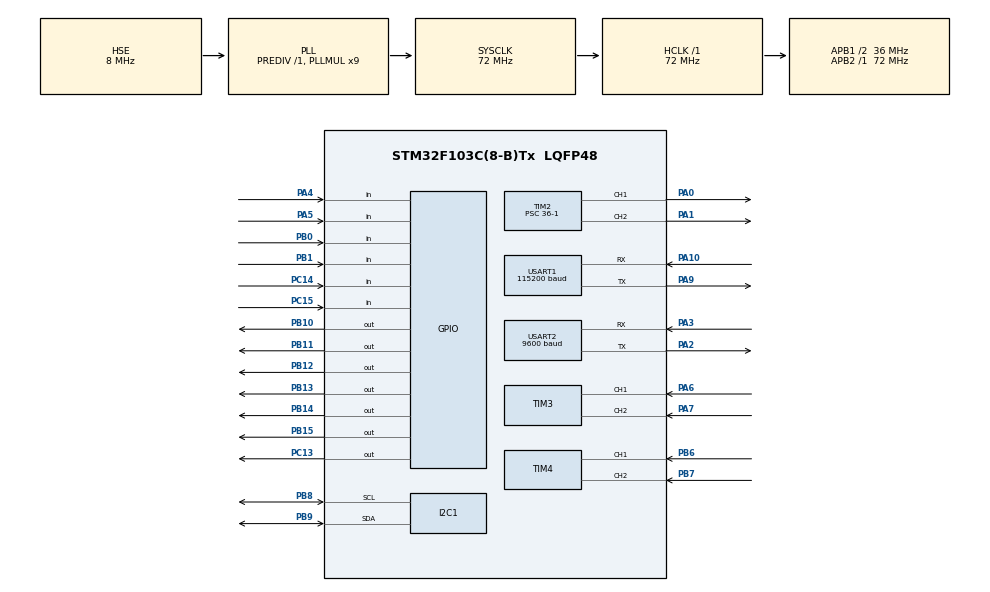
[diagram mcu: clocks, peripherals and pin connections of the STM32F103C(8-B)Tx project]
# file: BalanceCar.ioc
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Dma.I2C1_TX.2.Direction=DMA_MEMORY_TO_PERIPH
Dma.I2C1_TX.2.Instance=DMA1_Channel6
Dma.I2C1_TX.2.MemDataAlignment=DMA_MDATAALIGN_BYTE
Dma.I2C1_TX.2.MemInc=DMA_MINC_ENABLE
Dma.I2C1_TX.2.Mode=DMA_NORMAL
Dma.I2C1_TX.2.PeriphDataAlignment=DMA_PDATAALIGN_BYTE
Dma.I2C1_TX.2.PeriphInc=DMA_PINC_DISABLE
Dma.I2C1_TX.2.Priority=DMA_PRIORITY_HIGH
Dma.Request0=USART1_RX
Dma.Request1=USART1_TX
Dma.Request2=I2C1_TX
Dma.Request3=USART2_TX
Dma.USART1_RX.0.Direction=DMA_PERIPH_TO_MEMORY
Dma.USART1_RX.0.Instance=DMA1_Channel5
Dma.USART1_RX.0.MemDataAlignment=DMA_MDATAALIGN_BYTE
Dma.USART1_RX.0.MemInc=DMA_MINC_ENABLE
Dma.USART1_RX.0.Mode=DMA_CIRCULAR
Dma.USART1_RX.0.PeriphDataAlignment=DMA_PDATAALIGN_BYTE
Dma.USART1_RX.0.PeriphInc=DMA_PINC_DISABLE
Dma.USART1_RX.0.Priority=DMA_PRIORITY_HIGH
Dma.USART1_TX.1.Direction=DMA_MEMORY_TO_PERIPH
Dma.USART1_TX.1.Instance=DMA1_Channel4
Dma.USART1_TX.1.MemDataAlignment=DMA_MDATAALIGN_BYTE
Dma.USART1_TX.1.MemInc=DMA_MINC_ENABLE
Dma.USART1_TX.1.Mode=DMA_NORMAL
Dma.USART1_TX.1.PeriphDataAlignment=DMA_PDATAALIGN_BYTE
Dma.USART1_TX.1.PeriphInc=DMA_PINC_DISABLE
Dma.USART1_TX.1.Priority=DMA_PRIORITY_MEDIUM
Dma.USART2_TX.3.Direction=DMA_MEMORY_TO_PERIPH
Dma.USART2_TX.3.Instance=DMA1_Channel7
Dma.USART2_TX.3.MemDataAlignment=DMA_MDATAALIGN_BYTE
Dma.USART2_TX.3.MemInc=DMA_MINC_ENABLE
Dma.USART2_TX.3.Mode=DMA_NORMAL
Dma.USART2_TX.3.PeriphDataAlignment=DMA_PDATAALIGN_BYTE
Dma.USART2_TX.3.PeriphInc=DMA_PINC_DISABLE
Dma.USART2_TX.3.Priority=DMA_PRIORITY_MEDIUM
FREERTOS.INCLUDE_xTaskGetHandle=1
FREERTOS.Queues01=ButtonQueue,1,uint8_t,0,Dynamic,NULL,NULL;TimerQueue,1,uint16_t,0,Dynamic,NULL,NULL;PrintQueue,1,uint8_t *,0,Dynamic,NULL,NULL
FREERTOS.Tasks01=Balance,48,256,vBalance,Default,NULL,Dynamic,NULL,NULL;Speed,40,256,vSpeed,Default,NULL,Dynamic,NULL,NULL;Comms,24,256,vComms,Default,NULL,Dynamic,NULL,NULL;UI,8,256,vUI,Default,NULL,Dynamic,NULL,NULL
FREERTOS.configTOTAL_HEAP_SIZE=7168
I2C1.I2C_Mode=I2C_Fast
Mcu.Family=STM32F1
Mcu.Name=STM32F103C(8-B)Tx
Mcu.Package=LQFP48
NVIC.DMA1_Channel4_IRQn=true\:5\:0\:false\:false\:true\:true\:false\:true\:true
NVIC.DMA1_Channel5_IRQn=true\:5\:0\:false\:false\:true\:true\:false\:true\:true
NVIC.DMA1_Channel6_IRQn=true\:6\:0\:true\:false\:true\:true\:false\:true\:true
NVIC.DMA1_Channel7_IRQn=true\:5\:0\:false\:false\:true\:true\:false\:true\:true
NVIC.I2C1_ER_IRQn=true\:5\:0\:false\:false\:true\:true\:true\:true\:true
NVIC.I2C1_EV_IRQn=true\:6\:0\:true\:false\:true\:true\:true\:true\:true
NVIC.PriorityGroup=NVIC_PRIORITYGROUP_4
NVIC.TIM1_UP_IRQn=true\:5\:0\:true\:false\:true\:false\:true\:true\:true
NVIC.TIM2_IRQn=true\:5\:0\:false\:false\:true\:true\:true\:true\:true
NVIC.TimeBase=TIM1_UP_IRQn
NVIC.TimeBaseIP=TIM1
NVIC.USART1_IRQn=true\:6\:0\:true\:false\:true\:true\:true\:true\:true
NVIC.USART2_IRQn=true\:6\:0\:true\:false\:true\:true\:true\:true\:true
PA0-WKUP.Signal=S_TIM2_CH1_ETR
PA1.Signal=S_TIM2_CH2
PA10.Mode=Asynchronous
PA10.Signal=USART1_RX
PA13.Mode=Serial_Wire
PA13.Signal=SYS_JTMS-SWDIO
PA14.Mode=Serial_Wire
PA14.Signal=SYS_JTCK-SWCLK
PA2.Mode=Asynchronous
PA2.Signal=USART2_TX
PA3.Mode=Asynchronous
PA3.Signal=USART2_RX
PA4.GPIO_PuPd=GPIO_PULLUP
PA4.Signal=GPIO_Input
PA5.GPIO_PuPd=GPIO_PULLUP
PA5.Signal=GPIO_Input
PA6.Signal=S_TIM3_CH1
PA7.Signal=S_TIM3_CH2
PA9.Mode=Asynchronous
PA9.Signal=USART1_TX
PB0.GPIO_PuPd=GPIO_PULLUP
PB0.Signal=GPIO_Input
PB1.GPIO_PuPd=GPIO_PULLUP
PB1.Signal=GPIO_Input
PB10.GPIO_ModeDefaultOutputPP=GPIO_MODE_OUTPUT_OD
PB10.GPIO_PuPd=GPIO_NOPULL
PB10.GPIO_Speed=GPIO_SPEED_FREQ_HIGH
PB10.PinState=GPIO_PIN_SET
PB10.Signal=GPIO_Output
PB11.GPIO_ModeDefaultOutputPP=GPIO_MODE_OUTPUT_OD
PB11.GPIO_PuPd=GPIO_NOPULL
PB11.GPIO_Speed=GPIO_SPEED_FREQ_HIGH
PB11.PinState=GPIO_PIN_SET
PB11.Signal=GPIO_Output
PB12.GPIO_Speed=GPIO_SPEED_FREQ_HIGH
PB12.Signal=GPIO_Output
PB13.GPIO_Speed=GPIO_SPEED_FREQ_HIGH
PB13.Signal=GPIO_Output
PB14.GPIO_Speed=GPIO_SPEED_FREQ_HIGH
PB14.Signal=GPIO_Output
PB15.GPIO_Speed=GPIO_SPEED_FREQ_HIGH
PB15.Signal=GPIO_Output
PB6.Signal=S_TIM4_CH1
PB7.Signal=S_TIM4_CH2
PB8.Mode=I2C
PB8.Signal=I2C1_SCL
PB9.Mode=I2C
PB9.Signal=I2C1_SDA
PC13-TAMPER-RTC.PinState=GPIO_PIN_SET
PC13-TAMPER-RTC.Signal=GPIO_Output
PC14-OSC32_IN.GPIO_PuPd=GPIO_PULLUP
PC14-OSC32_IN.Signal=GPIO_Input
PC15-OSC32_OUT.GPIO_PuPd=GPIO_PULLUP
PC15-OSC32_OUT.Signal=GPIO_Input
PD0-OSC_IN.Mode=HSE-External-Oscillator
PD0-OSC_IN.Signal=RCC_OSC_IN
PD1-OSC_OUT.Mode=HSE-External-Oscillator
PD1-OSC_OUT.Signal=RCC_OSC_OUT
ProjectManager.HeapSize=0x200
ProjectManager.StackSize=0x400
ProjectManager.TargetToolchain=MDK-ARM V5.32
RCC.AHBFreq_Value=72000000
RCC.APB1CLKDivider=RCC_HCLK_DIV2
RCC.APB1Freq_Value=36000000
RCC.APB1TimFreq_Value=72000000
RCC.APB2Freq_Value=72000000
RCC.APB2TimFreq_Value=72000000
RCC.HCLKFreq_Value=72000000
RCC.PLLMUL=RCC_PLL_MUL9
RCC.PLLSourceVirtual=RCC_PLLSOURCE_HSE
RCC.SYSCLKFreq_VALUE=72000000
RCC.SYSCLKSource=RCC_SYSCLKSOURCE_PLLCLK
RCC.USBFreq_Value=72000000
SH.S_TIM2_CH1_ETR.0=TIM2_CH1,PWM Generation1 CH1
SH.S_TIM2_CH2.0=TIM2_CH2,PWM Generation2 CH2
SH.S_TIM3_CH1.0=TIM3_CH1,Encoder_Interface
SH.S_TIM3_CH2.0=TIM3_CH2,Encoder_Interface
SH.S_TIM4_CH1.0=TIM4_CH1,Encoder_Interface
SH.S_TIM4_CH2.0=TIM4_CH2,Encoder_Interface
TIM2.Channel-PWM\ Generation1\ CH1=TIM_CHANNEL_1
TIM2.Channel-PWM\ Generation2\ CH2=TIM_CHANNEL_2
TIM2.Period=100-1
TIM2.Prescaler=36-1
TIM3.EncoderMode=TIM_ENCODERMODE_TI12
TIM3.IC1Filter=15
TIM3.IC2Filter=15
TIM4.EncoderMode=TIM_ENCODERMODE_TI12
TIM4.IC1Filter=15
TIM4.IC2Polarity=TIM_ICPOLARITY_FALLING
USART1.BaudRate=115200
USART1.VirtualMode=VM_ASYNC
USART2.BaudRate=9600
USART2.VirtualMode=VM_ASYNC
VP_FREERTOS_VS_CMSIS_V2.Mode=CMSIS_V2
VP_SYS_VS_tim1.Mode=TIM1
VP_TIM2_VS_ClockSourceINT.Mode=Internal
board=custom

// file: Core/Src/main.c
/* USER CODE BEGIN Header */
/**
  ******************************************************************************
  * @file           : main.c
  * @brief          : Main program body
  ******************************************************************************
  * @attention
  *
  * Copyright (c) 2026 STMicroelectronics.
  * All rights reserved.
  *
  * This software is licensed under terms that can be found in the LICENSE file
  * in the root directory of this software component.
  * If no LICENSE file comes with this software, it is provided AS-IS.
  *
  ******************************************************************************
  */
/* USER CODE END Header */
#include "main.h"
#include "cmsis_os.h"
#include "dma.h"
#include "i2c.h"
#include "tim.h"
#include "usart.h"
#include "gpio.h"

/* USER CODE BEGIN Includes */
#include "user_task.h"
#include "OLED.h"
#include "MPU6050.h"
#include "Motor.h"
#include "Encoder.h"
#include "LED.h"
#include "Key.h"
#include "Serial.h"
#include "BlueSerial.h"
/* USER CODE END Includes */

/* USER CODE BEGIN PV */
//
TaskHandle_t BalanceTask_Handler = NULL;
TaskHandle_t SpeedTask_Handler   = NULL;
TaskHandle_t CommsTask_Handler   = NULL;
TaskHandle_t UITask_Handler      = NULL;
/* USER CODE END PV */

void SystemClock_Config(void);
void MX_FREERTOS_Init(void);

int main(void)
{

  /* MCU Configuration--------------------------------------------------------*/

  /* Reset of all peripherals, Initializes the Flash interface and the Systick. */
  HAL_Init();

  /* Configure the system clock */
  SystemClock_Config();

  /* Initialize all configured peripherals */
  MX_GPIO_Init();
  MX_DMA_Init();
  MX_USART1_UART_Init();
  MX_TIM2_Init();
  MX_TIM3_Init();
  MX_TIM4_Init();
  MX_USART2_UART_Init();
  MX_I2C1_Init();
  /* USER CODE BEGIN 2 */
	//初始化要保证确保了外设初始化时底层硬件引脚已经准备就绪。
	OLED_Init();
  MPU6050_Init();
  Motor_Init();
  Encoder_Init();
  LED_Init();
  Key_Init();
  Serial_Init();
  BlueSerial_Init();
	HAL_TIM_PWM_Start(&htim2, TIM_CHANNEL_1); // 假设电机 PWM 使用 TIM2
	HAL_TIM_PWM_Start(&htim2, TIM_CHANNEL_2);
  /* USER CODE END 2 */

  /* Init scheduler */
  osKernelInitialize();  /* Call init function for freertos objects (in cmsis_os2.c) */
  MX_FREERTOS_Init();

  /* Start scheduler */
  osKernelStart();

  /* We should never get here as control is now taken by the scheduler */

  /* Infinite loop */
  while (1)
  {

  }
}

void SystemClock_Config(void)
{
  RCC_OscInitTypeDef RCC_OscInitStruct = {0};
  RCC_ClkInitTypeDef RCC_ClkInitStruct = {0};

  /** Initializes the RCC Oscillators according to the specified parameters
  * in the RCC_OscInitTypeDef structure.
  */
  RCC_OscInitStruct.OscillatorType = RCC_OSCILLATORTYPE_HSE;
  RCC_OscInitStruct.HSEState = RCC_HSE_ON;
  RCC_OscInitStruct.HSEPredivValue = RCC_HSE_PREDIV_DIV1;
  RCC_OscInitStruct.HSIState = RCC_HSI_ON;
  RCC_OscInitStruct.PLL.PLLState = RCC_PLL_ON;
  RCC_OscInitStruct.PLL.PLLSource = RCC_PLLSOURCE_HSE;
  RCC_OscInitStruct.PLL.PLLMUL = RCC_PLL_MUL9;
  if (HAL_RCC_OscConfig(&RCC_OscInitStruct) != HAL_OK)
  {
    Error_Handler();
  }

  /** Initializes the CPU, AHB and APB buses clocks
  */
  RCC_ClkInitStruct.ClockType = RCC_CLOCKTYPE_HCLK|RCC_CLOCKTYPE_SYSCLK
                              |RCC_CLOCKTYPE_PCLK1|RCC_CLOCKTYPE_PCLK2;
  RCC_ClkInitStruct.SYSCLKSource = RCC_SYSCLKSOURCE_PLLCLK;
  RCC_ClkInitStruct.AHBCLKDivider = RCC_SYSCLK_DIV1;
  RCC_ClkInitStruct.APB1CLKDivider = RCC_HCLK_DIV2;
  RCC_ClkInitStruct.APB2CLKDivider = RCC_HCLK_DIV1;

  if (HAL_RCC_ClockConfig(&RCC_ClkInitStruct, FLASH_LATENCY_2) != HAL_OK)
  {
    Error_Handler();
  }
}

void HAL_TIM_PeriodElapsedCallback(TIM_HandleTypeDef *htim)
{
  if (htim->Instance == TIM1)
  {
    HAL_IncTick();
  }
}

void Error_Handler(void)
{
  __disable_irq();
  while (1)
  {
  }
}

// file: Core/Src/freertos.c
/* USER CODE BEGIN Header */
/**
  ******************************************************************************
  * File Name          : freertos.c
  * Description        : Code for freertos applications
  ******************************************************************************
  * @attention
  *
  * Copyright (c) 2026 STMicroelectronics.
  * All rights reserved.
  *
  * This software is licensed under terms that can be found in the LICENSE file
  * in the root directory of this software component.
  * If no LICENSE file comes with this software, it is provided AS-IS.
  *
  ******************************************************************************
  */
/* USER CODE END Header */

#include "FreeRTOS.h"
#include "task.h"
#include "main.h"
#include "cmsis_os.h"

/* USER CODE BEGIN Includes */
#include "user_task.h"
/* USER CODE END Includes */

/* Definitions for Balance */
osThreadId_t BalanceHandle;
const osThreadAttr_t Balance_attributes = {
  .name = "Balance",
  .stack_size = 256 * 4,
  .priority = (osPriority_t) osPriorityRealtime,
};
/* Definitions for Speed */
osThreadId_t SpeedHandle;
const osThreadAttr_t Speed_attributes = {
  .name = "Speed",
  .stack_size = 256 * 4,
  .priority = (osPriority_t) osPriorityHigh,
};
/* Definitions for Comms */
osThreadId_t CommsHandle;
const osThreadAttr_t Comms_attributes = {
  .name = "Comms",
  .stack_size = 256 * 4,
  .priority = (osPriority_t) osPriorityNormal,
};
/* Definitions for UI */
osThreadId_t UIHandle;
const osThreadAttr_t UI_attributes = {
  .name = "UI",
  .stack_size = 256 * 4,
  .priority = (osPriority_t) osPriorityLow,
};
/* Definitions for ButtonQueue */
osMessageQueueId_t ButtonQueueHandle;
const osMessageQueueAttr_t ButtonQueue_attributes = {
  .name = "ButtonQueue"
};
/* Definitions for TimerQueue */
osMessageQueueId_t TimerQueueHandle;
const osMessageQueueAttr_t TimerQueue_attributes = {
  .name = "TimerQueue"
};
/* Definitions for PrintQueue */
osMessageQueueId_t PrintQueueHandle;
const osMessageQueueAttr_t PrintQueue_attributes = {
  .name = "PrintQueue"
};

void vBalance(void *argument);
void vSpeed(void *argument);
void vComms(void *argument);
void vUI(void *argument);

void MX_FREERTOS_Init(void); /* (MISRA C 2004 rule 8.1) */

void MX_FREERTOS_Init(void) {

  /* Create the queue(s) */
  /* creation of ButtonQueue */
  ButtonQueueHandle = osMessageQueueNew (1, sizeof(uint8_t), &ButtonQueue_attributes);

  /* creation of TimerQueue */
  TimerQueueHandle = osMessageQueueNew (1, sizeof(uint16_t), &TimerQueue_attributes);

  /* creation of PrintQueue */
  PrintQueueHandle = osMessageQueueNew (1, sizeof(uint8_t *), &PrintQueue_attributes);

  /* Create the thread(s) */
  /* creation of Balance */
  BalanceHandle = osThreadNew(vBalance, NULL, &Balance_attributes);

  /* creation of Speed */
  SpeedHandle = osThreadNew(vSpeed, NULL, &Speed_attributes);

  /* creation of Comms */
  CommsHandle = osThreadNew(vComms, NULL, &Comms_attributes);

  /* creation of UI */
  UIHandle = osThreadNew(vUI, NULL, &UI_attributes);

  /* USER CODE BEGIN RTOS_THREADS */
  /* add threads, ... */
	BalanceTask_Handler = (TaskHandle_t)BalanceHandle;
  SpeedTask_Handler = (TaskHandle_t)SpeedHandle;
  CommsTask_Handler = (TaskHandle_t)CommsHandle;
  UITask_Handler = (TaskHandle_t)UIHandle;

  /* USER CODE END RTOS_THREADS */

}

void vBalance(void *argument)
{
  /* USER CODE BEGIN vBalance */

  /* Infinite loop */
  for(;;)
  {
    vTask_Balance();
  }
  /* USER CODE END vBalance */
}

void vSpeed(void *argument)
{
  /* USER CODE BEGIN vSpeed */

  /* Infinite loop */
  for(;;)
  {
    vTask_Speed();
  }
  /* USER CODE END vSpeed */
}

void vComms(void *argument)
{
  /* USER CODE BEGIN vComms */
  /* Infinite loop */
  for(;;)
  {
    vTask_Comms();
  }
  /* USER CODE END vComms */
}

void vUI(void *argument)
{
  /* USER CODE BEGIN vUI */
  /* Infinite loop */
  for(;;)
  {
    vTask_UI();
  }
  /* USER CODE END vUI */
}
